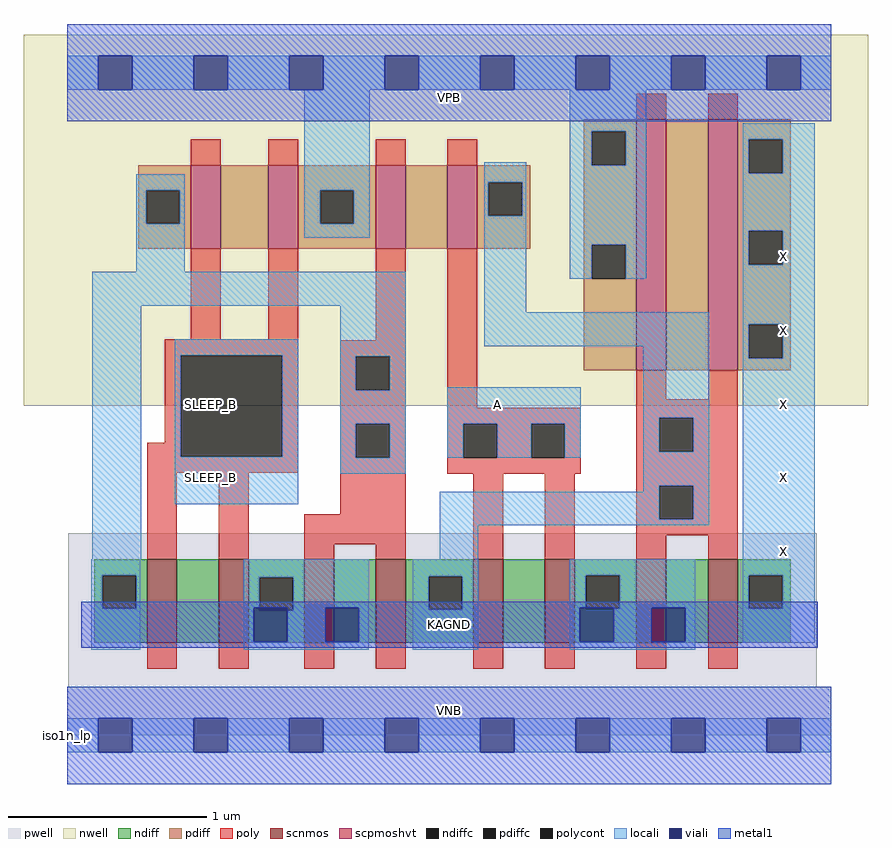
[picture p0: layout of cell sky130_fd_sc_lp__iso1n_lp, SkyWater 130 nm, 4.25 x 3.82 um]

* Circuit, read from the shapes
.subckt sky130_fd_sc_lp__iso1n_lp A KAGND SLEEP_B VGND VNB VPB VPWR X
XM1 n1 SLEEP_B n2 VNB sky130_fd_pr__nfet_01v8 w=0.42 l=0.15
XM2 KAGND SLEEP_B n1 VNB sky130_fd_pr__nfet_01v8 w=0.42 l=0.15
XM3 n3 n2 KAGND VNB sky130_fd_pr__nfet_01v8 w=0.42 l=0.15
XM4 n4 n2 n3 VNB sky130_fd_pr__nfet_01v8 w=0.42 l=0.15
XM5 n5 A n4 VNB sky130_fd_pr__nfet_01v8 w=0.42 l=0.15
XM6 KAGND A n5 VNB sky130_fd_pr__nfet_01v8 w=0.42 l=0.15
XM7 n6 n4 KAGND VNB sky130_fd_pr__nfet_01v8 w=0.42 l=0.15
XM8 X n4 n6 VNB sky130_fd_pr__nfet_01v8 w=0.42 l=0.15
XM9 n7 SLEEP_B n2 VPB sky130_fd_pr__pfet_01v8_hvt w=0.42 l=0.15
XM10 VPWR SLEEP_B n7 VPB sky130_fd_pr__pfet_01v8_hvt w=0.42 l=0.15
XM11 n8 n2 VPWR VPB sky130_fd_pr__pfet_01v8_hvt w=0.42 l=0.15
XM12 n4 A n8 VPB sky130_fd_pr__pfet_01v8_hvt w=0.42 l=0.15
XM13 n9 n4 VPWR VPB sky130_fd_pr__pfet_01v8_hvt w=1.26 l=0.15
XM14 X n4 n9 VPB sky130_fd_pr__pfet_01v8_hvt w=1.26 l=0.15
.ends

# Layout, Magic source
magic
tech sky130A
magscale 1 2
<< nwell >>
rect -44 331 805 704
<< pwell >>
rect 1 49 753 203
rect 0 0 768 49
<< scnmos >>
rect 80 93 110 177
rect 152 93 182 177
rect 238 93 268 177
rect 310 93 340 177
rect 408 93 438 177
rect 480 93 510 177
rect 572 93 602 177
rect 644 93 674 177
<< scpmoshvt >>
rect 124 489 154 573
rect 202 489 232 573
rect 310 489 340 573
rect 382 489 412 573
rect 572 367 602 619
rect 644 367 674 619
<< ndiff >>
rect 27 161 80 177
rect 27 127 35 161
rect 69 127 80 161
rect 27 93 80 127
rect 110 93 152 177
rect 182 159 238 177
rect 182 125 193 159
rect 227 125 238 159
rect 182 93 238 125
rect 268 93 310 177
rect 340 160 408 177
rect 340 126 363 160
rect 397 126 408 160
rect 340 93 408 126
rect 438 93 480 177
rect 510 161 572 177
rect 510 127 521 161
rect 555 127 572 161
rect 510 93 572 127
rect 602 93 644 177
rect 674 161 727 177
rect 674 127 685 161
rect 719 127 727 161
rect 674 93 727 127
<< pdiff >>
rect 519 607 572 619
rect 519 573 527 607
rect 561 573 572 607
rect 71 548 124 573
rect 71 514 79 548
rect 113 514 124 548
rect 71 489 124 514
rect 154 489 202 573
rect 232 548 310 573
rect 232 514 254 548
rect 288 514 310 548
rect 232 489 310 514
rect 340 489 382 573
rect 412 556 465 573
rect 412 522 423 556
rect 457 522 465 556
rect 412 489 465 522
rect 519 493 572 573
rect 519 459 527 493
rect 561 459 572 493
rect 519 367 572 459
rect 602 367 644 619
rect 674 599 727 619
rect 674 565 685 599
rect 719 565 727 599
rect 674 507 727 565
rect 674 473 685 507
rect 719 473 727 507
rect 674 413 727 473
rect 674 379 685 413
rect 719 379 727 413
rect 674 367 727 379
<< ndiffc >>
rect 35 127 69 161
rect 193 125 227 159
rect 363 126 397 160
rect 521 127 555 161
rect 685 127 719 161
<< pdiffc >>
rect 527 573 561 607
rect 79 514 113 548
rect 254 514 288 548
rect 423 522 457 556
rect 527 459 561 493
rect 685 565 719 599
rect 685 473 719 507
rect 685 379 719 413
<< poly >>
rect 572 619 602 645
rect 644 619 674 645
rect 124 573 154 599
rect 202 573 232 599
rect 310 573 340 599
rect 382 573 412 599
rect 124 398 154 489
rect 202 398 232 489
rect 98 382 232 398
rect 310 397 340 489
rect 98 294 114 382
rect 80 280 114 294
rect 216 280 232 382
rect 80 264 232 280
rect 274 381 340 397
rect 274 347 290 381
rect 324 347 340 381
rect 274 313 340 347
rect 274 279 290 313
rect 324 279 340 313
rect 80 177 110 264
rect 152 177 182 264
rect 274 222 340 279
rect 382 329 412 489
rect 572 338 602 367
rect 644 338 674 367
rect 382 313 516 329
rect 382 279 398 313
rect 432 279 466 313
rect 500 279 516 313
rect 382 263 516 279
rect 572 319 674 338
rect 572 285 595 319
rect 629 285 674 319
rect 238 192 340 222
rect 238 177 268 192
rect 310 177 340 192
rect 408 177 438 263
rect 480 177 510 263
rect 572 251 674 285
rect 572 217 595 251
rect 629 217 674 251
rect 572 201 674 217
rect 572 177 602 201
rect 644 177 674 201
rect 80 67 110 93
rect 152 67 182 93
rect 238 67 268 93
rect 310 67 340 93
rect 408 67 438 93
rect 480 67 510 93
rect 572 67 602 93
rect 644 67 674 93
<< polycont >>
rect 114 280 216 382
rect 290 347 324 381
rect 290 279 324 313
rect 398 279 432 313
rect 466 279 500 313
rect 595 285 629 319
rect 595 217 629 251
<< locali >>
rect 0 649 31 683
rect 65 649 127 683
rect 161 649 223 683
rect 257 649 319 683
rect 353 649 415 683
rect 449 649 511 683
rect 545 649 607 683
rect 641 649 703 683
rect 737 649 768 683
rect 69 548 118 564
rect 69 514 79 548
rect 113 514 118 548
rect 69 466 118 514
rect 238 548 304 649
rect 505 607 582 649
rect 238 514 254 548
rect 288 514 304 548
rect 238 500 304 514
rect 419 556 461 576
rect 419 522 423 556
rect 457 522 461 556
rect 25 432 340 466
rect 25 177 74 432
rect 108 382 232 398
rect 108 280 114 382
rect 216 280 232 382
rect 108 232 232 280
rect 274 381 340 432
rect 419 425 461 522
rect 505 573 527 607
rect 561 573 582 607
rect 505 493 582 573
rect 505 459 527 493
rect 561 459 582 493
rect 679 599 751 615
rect 679 565 685 599
rect 719 565 751 599
rect 679 507 751 565
rect 679 473 685 507
rect 719 473 751 507
rect 419 391 645 425
rect 274 347 290 381
rect 324 347 340 381
rect 274 313 340 347
rect 274 279 290 313
rect 324 279 340 313
rect 382 313 516 350
rect 382 279 398 313
rect 432 279 466 313
rect 500 279 516 313
rect 579 319 645 391
rect 579 285 595 319
rect 629 285 645 319
rect 274 263 340 279
rect 579 251 645 285
rect 579 245 595 251
rect 374 217 595 245
rect 629 217 645 251
rect 374 211 645 217
rect 679 413 751 473
rect 679 379 685 413
rect 719 379 751 413
rect 374 177 413 211
rect 24 161 73 177
rect 24 127 35 161
rect 69 127 73 161
rect 24 86 73 127
rect 177 159 303 177
rect 177 128 193 159
rect 227 128 303 159
rect 177 94 187 128
rect 227 125 259 128
rect 221 94 259 125
rect 293 94 303 128
rect 177 86 303 94
rect 347 160 413 177
rect 347 126 363 160
rect 397 126 413 160
rect 347 86 413 126
rect 505 161 631 177
rect 505 128 521 161
rect 555 128 631 161
rect 505 94 515 128
rect 555 127 587 128
rect 549 94 587 127
rect 621 94 631 128
rect 505 86 631 94
rect 679 161 751 379
rect 679 127 685 161
rect 719 127 751 161
rect 679 93 751 127
rect 0 -17 31 17
rect 65 -17 127 17
rect 161 -17 223 17
rect 257 -17 319 17
rect 353 -17 415 17
rect 449 -17 511 17
rect 545 -17 607 17
rect 641 -17 703 17
rect 737 -17 768 17
<< viali >>
rect 31 649 65 683
rect 127 649 161 683
rect 223 649 257 683
rect 319 649 353 683
rect 415 649 449 683
rect 511 649 545 683
rect 607 649 641 683
rect 703 649 737 683
rect 187 125 193 128
rect 193 125 221 128
rect 187 94 221 125
rect 259 94 293 128
rect 515 127 521 128
rect 521 127 549 128
rect 515 94 549 127
rect 587 94 621 128
rect 31 -17 65 17
rect 127 -17 161 17
rect 223 -17 257 17
rect 319 -17 353 17
rect 415 -17 449 17
rect 511 -17 545 17
rect 607 -17 641 17
rect 703 -17 737 17
<< metal1 >>
rect 0 683 768 715
rect 0 649 31 683
rect 65 649 127 683
rect 161 649 223 683
rect 257 649 319 683
rect 353 649 415 683
rect 449 649 511 683
rect 545 649 607 683
rect 641 649 703 683
rect 737 649 768 683
rect 0 617 768 649
rect 14 128 754 134
rect 14 94 187 128
rect 221 94 259 128
rect 293 94 515 128
rect 549 94 587 128
rect 621 94 754 128
rect 14 88 754 94
rect 0 17 768 49
rect 0 -17 31 17
rect 65 -17 127 17
rect 161 -17 223 17
rect 257 -17 319 17
rect 353 -17 415 17
rect 449 -17 511 17
rect 545 -17 607 17
rect 641 -17 703 17
rect 737 -17 768 17
rect 0 -49 768 -17
<< labels >>
flabel locali s 703 168 737 202 0 FreeSans 200 0 0 0 X
port 8 nsew signal output
flabel locali s 703 464 737 498 0 FreeSans 200 0 0 0 X
port 8 nsew signal output
flabel locali s 703 390 737 424 0 FreeSans 200 0 0 0 X
port 8 nsew signal output
flabel locali s 703 242 737 276 0 FreeSans 200 0 0 0 X
port 8 nsew signal output
flabel locali s 127 316 161 350 0 FreeSans 200 0 0 0 SLEEP_B
port 3 nsew signal input
flabel locali s 703 316 737 350 0 FreeSans 200 0 0 0 X
port 8 nsew signal output
flabel locali s 415 316 449 350 0 FreeSans 200 0 0 0 A
port 1 nsew signal input
flabel locali s 127 242 161 276 0 FreeSans 200 0 0 0 SLEEP_B
port 3 nsew signal input
flabel pwell s 0 0 768 49 0 FreeSans 200 0 0 0 VNB
port 5 nsew ground bidirectional
flabel nwell s 0 617 768 666 0 FreeSans 200 0 0 0 VPB
port 6 nsew power bidirectional
rlabel comment s 0 0 0 0 4 iso1n_lp
flabel metal1 s 14 88 754 134 0 FreeSans 340 0 0 0 KAGND
port 2 nsew ground input
flabel metal1 s 0 617 768 666 0 FreeSans 200 0 0 0 VPWR
port 7 nsew power bidirectional
flabel metal1 s 0 0 768 49 0 FreeSans 200 0 0 0 VGND
port 4 nsew ground bidirectional
<< properties >>
string LEFsite unit
string LEFclass CORE
string FIXED_BBOX 0 0 768 666
string GDS_FILE $PDKPATH/libs.ref/sky130_fd_sc_lp/gds/sky130_fd_sc_lp.gds
string LEFsymmetry X Y R90
string GDS_END 2855482
string GDS_START 2848718
<< end >>
